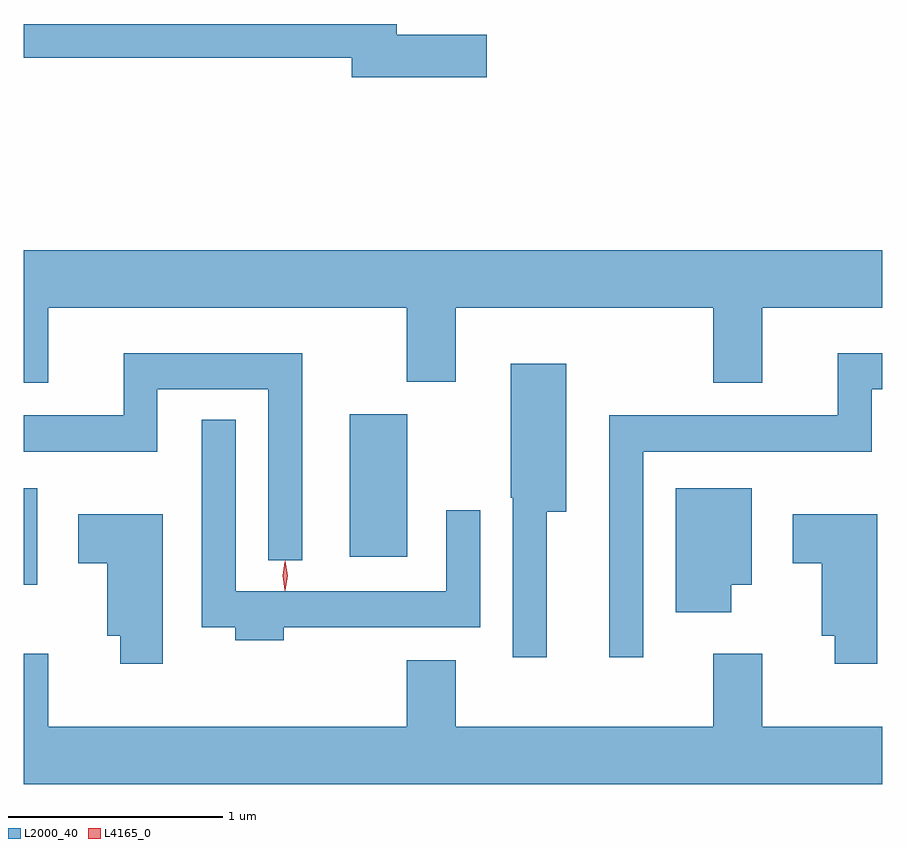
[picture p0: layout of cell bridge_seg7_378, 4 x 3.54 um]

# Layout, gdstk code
import gdstk
lib = gdstk.Library(unit=1e-6, precision=1e-09)
def R(c, l, rs):  # rectangles x0, y0, x1, y1
    for r in rs: c.add(gdstk.rectangle(r[:2], r[2:], *l))
def P(c, l, *ps):  # polygons
    for p in ps: c.add(gdstk.Polygon(p, *l))
L2000_40 = (2000, 40)
L4165_0 = (4165, 0)

bridge_seg7_378 = lib.new_cell('bridge_seg7_378')
R(bridge_seg7_378, L2000_40, [(1149.837,1766.306,1149.899,1766.754), (1151.356,1766.436,1151.624,1767.099)])
P(bridge_seg7_378, L2000_40, [(1151.994,1768.869),(1151.574,1768.869),(1151.574,1768.919),(1149.837,1768.919),(1149.837,1768.761),(1151.366,1768.761),(1151.366,1768.671),(1151.994,1768.671)],
  [(1149.949,1767.596),(1151.621,1767.596),(1151.621,1767.251),(1151.849,1767.251),(1151.849,1767.596),(1153.051,1767.596),(1153.051,1767.246),(1153.279,1767.246),(1153.279,1767.596),(1153.837,1767.596),(1153.837,1767.864),(1149.837,1767.864),(1149.837,1767.246),(1149.949,1767.246)],
  [(1152.724,1766.926),(1153.789,1766.926),(1153.789,1767.216),(1153.837,1767.216),(1153.837,1767.384),(1153.631,1767.384),(1153.631,1767.094),(1152.566,1767.094),(1152.566,1765.968),(1152.724,1765.968)],
  [(1151.134,1767.384),(1150.301,1767.384),(1150.301,1767.094),(1149.837,1767.094),(1149.837,1766.926),(1150.459,1766.926),(1150.459,1767.216),(1150.976,1767.216),(1150.976,1766.418),(1151.134,1766.418)],
  [(1152.274,1766.646),(1152.364,1766.646),(1152.364,1767.334),(1152.106,1767.334),(1152.106,1766.71),(1152.116,1766.71),(1152.116,1765.968),(1152.274,1765.968)],
  [(1151.049,1766.106),(1151.964,1766.106),(1151.964,1766.653),(1151.806,1766.653),(1151.806,1766.274),(1150.824,1766.274),(1150.824,1767.073),(1150.666,1767.073),(1150.666,1766.106),(1150.821,1766.106),(1150.821,1766.046),(1151.049,1766.046)],
  [(1153.134,1766.306),(1153.229,1766.306),(1153.229,1766.754),(1152.876,1766.754),(1152.876,1766.176),(1153.134,1766.176)],
  [(1153.814,1766.634),(1153.421,1766.634),(1153.421,1766.406),(1153.556,1766.406),(1153.556,1766.066),(1153.616,1766.066),(1153.616,1765.936),(1153.814,1765.936)],
  [(1150.484,1766.634),(1150.091,1766.634),(1150.091,1766.406),(1150.226,1766.406),(1150.226,1766.066),(1150.286,1766.066),(1150.286,1765.936),(1150.484,1765.936)],
  [(1153.837,1765.644),(1153.279,1765.644),(1153.279,1765.984),(1153.051,1765.984),(1153.051,1765.644),(1151.849,1765.644),(1151.849,1765.954),(1151.621,1765.954),(1151.621,1765.644),(1149.949,1765.644),(1149.949,1765.984),(1149.837,1765.984),(1149.837,1765.376),(1153.837,1765.376)])
P(bridge_seg7_378, L4165_0, [(1151.056,1766.277),(1151.055,1766.278),(1151.046,1766.347),(1151.055,1766.416),(1151.056,1766.416),(1151.056,1766.416),(1151.066,1766.347),(1151.056,1766.278)],
  [(1151.053,1766.28),(1151.044,1766.346),(1151.053,1766.412),(1151.054,1766.413),(1151.054,1766.412),(1151.064,1766.346),(1151.054,1766.28),(1151.054,1766.28)])

lib.write_gds('bridge_seg7_378.gds')
